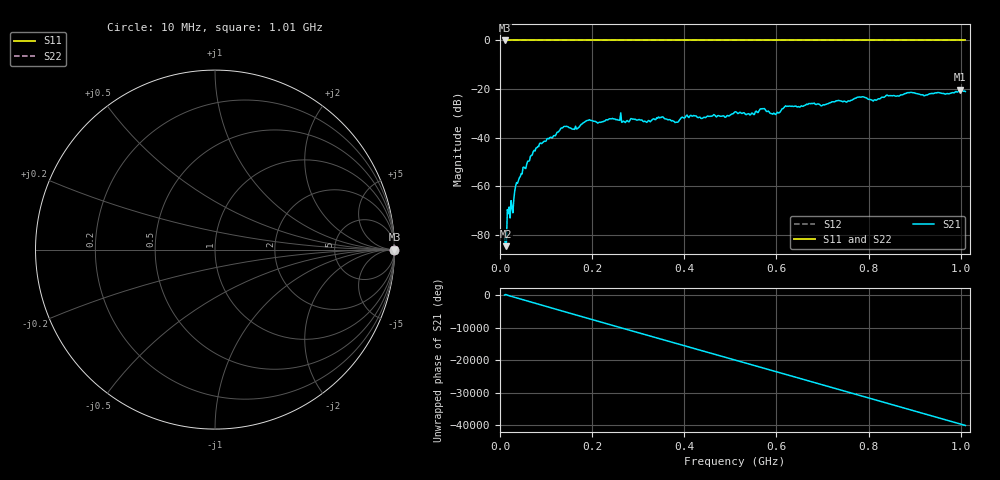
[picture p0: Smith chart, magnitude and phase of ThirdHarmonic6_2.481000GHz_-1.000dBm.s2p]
! 8/17/2025 4:37:57 AM
! C:\ANRITSUVNA\TEMP\TEMP.S2P
! CHANNEL.1
! TR.MEASUREMENT
! RAW.DATA
! RF.CORRECTION.OFF
! AVERAGING.OFF
! IF.BANDWIDTH: 5KHZ
! SWEEPTYPE:  FREQ.SWEEP(Linear)
! Reference Plane Port Info
! PORT:  PORT1  PORT2
! DISTANCE:  0  m  0  m
! TIME:  0  s  0  s
! PHASE.OFFSET:  0  deg.  0  deg.
! LOSS:  0  dB  0  dB
! REF.LOSS:  0  dB  0  dB
! REF.FREQ:  0  Hz  0  Hz
! Power Info
! POWER:  -20  dBm  -20  dBm
! EFF.POWER:  -20  dBm  -20  dBm
! SOURCE.ATTEN:  0  dB  0  dB
! TEST.ATTEN:  0  dB  0  dB
# GHZ S RI R 50.0
! FREQ.GHZ  S11RE  S11IM  S21RE  S21IM  S12RE  S12IM  S22RE  S22IM
!; PortSelection: Port_12
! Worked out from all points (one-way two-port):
!   501 points, 10 MHz to 1.01 GHz, reference 50 ohm
!   highest |S21| = -20.27 dB at 998 MHz (marker M1); lowest = -84.7 dB at 12 MHz (marker M2)
!   lowest |S11| = 0.0 dB at 10 MHz (marker M3)
!   |S11| at or under -10 dB: nowhere
!   |S22| runs from 0.0 to 0.0 dB; largest |S21 - S12| = 1.1
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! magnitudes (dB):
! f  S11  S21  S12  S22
! 10 MHz  0.0  -81.5  0.0  0.0
! 12 MHz  0.0  -84.7  0.0  0.0
! 20 MHz  0.0  -68.6  0.0  0.0
! 26 MHz  0.0  -68.7  0.0  0.0
! 38 MHz  0.0  -58.8  0.0  0.0
! 76 MHz  0.0  -45.5  0.0  0.0
! 136 MHz  0.0  -36.0  0.0  0.0
! 158 MHz  0.0  -36.5  0.0  0.0
! 178 MHz  0.0  -34.4  0.0  0.0
! 344 MHz  0.0  -31.5  0.0  0.0
! 382 MHz  0.0  -33.7  0.0  0.0
! 408 MHz  0.0  -31.4  0.0  0.0
! 492 MHz  0.0  -31.1  0.0  0.0
! 510 MHz  0.0  -29.4  0.0  0.0
! 548 MHz  0.0  -29.9  0.0  0.0
! 570 MHz  0.0  -28.1  0.0  0.0
! 596 MHz  0.0  -30.1  0.0  0.0
! 622 MHz  0.0  -27.2  0.0  0.0
! 678 MHz  0.0  -26.0  0.0  0.0
! 844 MHz  0.0  -22.8  0.0  0.0
! 998 MHz  0.0  -20.3  0.0  0.0
! 1.01 GHz  0.0  -21.0  0.0  0.0
